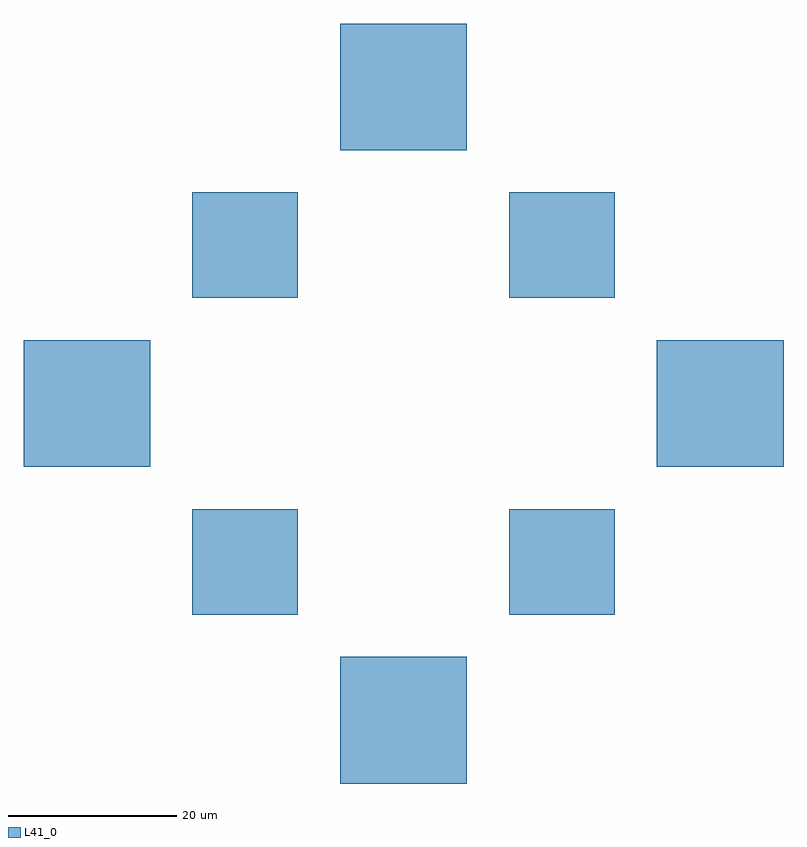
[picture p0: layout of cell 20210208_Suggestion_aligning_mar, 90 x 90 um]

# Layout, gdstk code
import gdstk
lib = gdstk.Library(unit=1e-6, precision=1e-09)
def R(c, l, rs):  # rectangles x0, y0, x1, y1
    for r in rs: c.add(gdstk.rectangle(r[:2], r[2:], *l))
L41_0 = (41, 0)

c_20210208_suggestion_alig = lib.new_cell('20210208_Suggestion_aligning_mar')
R(c_20210208_suggestion_alig, L41_0, [(44.469,4.19,59.469,19.19), (26.969,24.19,39.469,36.69), (64.469,24.19,76.969,36.69), (6.969,41.69,21.969,56.69), (81.969,41.69,96.969,56.69), (26.969,61.69,39.469,74.19), (64.469,61.69,76.969,74.19), (44.469,79.19,59.469,94.19)])

lib.write_gds('20210208_Suggestion_aligning_mar.gds')
